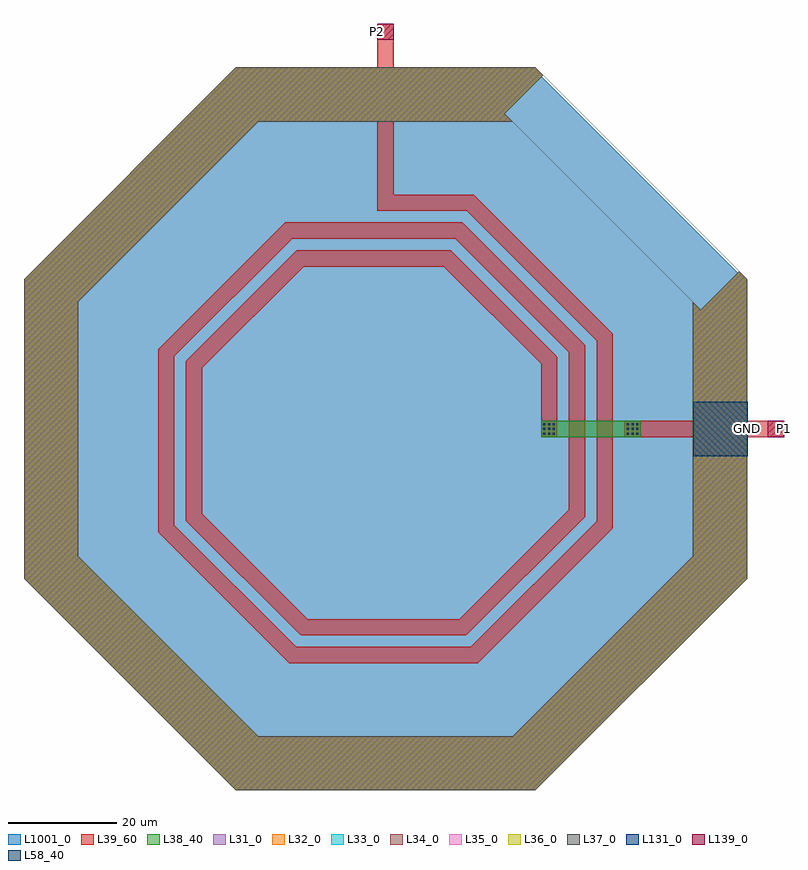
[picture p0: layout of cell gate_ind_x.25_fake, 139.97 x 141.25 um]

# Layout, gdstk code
import gdstk
lib = gdstk.Library(unit=1e-6, precision=1e-09)
def R(c, l, rs):  # rectangles x0, y0, x1, y1
    for r in rs: c.add(gdstk.rectangle(r[:2], r[2:], *l))
def A(c, l, x, y, w, h, nx, ny, dx, dy):  # array of equal rectangles
    R(c, l, [(x+i*dx, y+j*dy, x+i*dx+w, y+j*dy+h) for i in range(nx) for j in range(ny)])
def P(c, l, *ps):  # polygons
    for p in ps: c.add(gdstk.Polygon(p, *l))
L31_0 = (31, 0)
L32_0 = (32, 0)
L33_0 = (33, 0)
L34_0 = (34, 0)
L35_0 = (35, 0)
L36_0 = (36, 0)
L37_0 = (37, 0)
L38_40 = (38, 40)
L39_60 = (39, 60)
L58_40 = (58, 40)
L131_0 = (131, 0)
L139_0 = (139, 0)
L1001_0 = (1001, 0)

gate_ind_x_25_fake = lib.new_cell('gate_ind_x.25_fake')
P(gate_ind_x_25_fake, L31_0, [(58.052,21.975),(65.123,29.046),(27.581,66.588),(-27.581,66.588),(-66.588,27.581),(-66.588,-27.581),(-27.581,-66.588),(27.581,-66.588),(66.588,-27.581),(66.588,27.581),(29.046,65.123),(21.975,58.052),(56.588,23.439),(56.588,-23.439),(23.439,-56.588),(-23.439,-56.588),(-56.588,-23.439),(-56.588,23.439),(-23.439,56.588),(23.439,56.588)])
P(gate_ind_x_25_fake, L32_0, [(58.052,21.975),(65.123,29.046),(27.581,66.588),(-27.581,66.588),(-66.588,27.581),(-66.588,-27.581),(-27.581,-66.588),(27.581,-66.588),(66.588,-27.581),(66.588,27.581),(29.046,65.123),(21.975,58.052),(56.588,23.439),(56.588,-23.439),(23.439,-56.588),(-23.439,-56.588),(-56.588,-23.439),(-56.588,23.439),(-23.439,56.588),(23.439,56.588)])
P(gate_ind_x_25_fake, L33_0, [(58.052,21.975),(65.123,29.046),(27.581,66.588),(-27.581,66.588),(-66.588,27.581),(-66.588,-27.581),(-27.581,-66.588),(27.581,-66.588),(66.588,-27.581),(66.588,27.581),(29.046,65.123),(21.975,58.052),(56.588,23.439),(56.588,-23.439),(23.439,-56.588),(-23.439,-56.588),(-56.588,-23.439),(-56.588,23.439),(-23.439,56.588),(23.439,56.588)])
P(gate_ind_x_25_fake, L34_0, [(58.052,21.975),(65.123,29.046),(27.581,66.588),(-27.581,66.588),(-66.588,27.581),(-66.588,-27.581),(-27.581,-66.588),(27.581,-66.588),(66.588,-27.581),(66.588,27.581),(29.046,65.123),(21.975,58.052),(56.588,23.439),(56.588,-23.439),(23.439,-56.588),(-23.439,-56.588),(-56.588,-23.439),(-56.588,23.439),(-23.439,56.588),(23.439,56.588)])
P(gate_ind_x_25_fake, L35_0, [(58.052,21.975),(65.123,29.046),(27.581,66.588),(-27.581,66.588),(-66.588,27.581),(-66.588,-27.581),(-27.581,-66.588),(27.581,-66.588),(66.588,-27.581),(66.588,27.581),(29.046,65.123),(21.975,58.052),(56.588,23.439),(56.588,-23.439),(23.439,-56.588),(-23.439,-56.588),(-56.588,-23.439),(-56.588,23.439),(-23.439,56.588),(23.439,56.588)])
P(gate_ind_x_25_fake, L36_0, [(58.052,21.975),(65.123,29.046),(27.581,66.588),(-27.581,66.588),(-66.588,27.581),(-66.588,-27.581),(-27.581,-66.588),(27.581,-66.588),(66.588,-27.581),(66.588,27.581),(29.046,65.123),(21.975,58.052),(56.588,23.439),(56.588,-23.439),(23.439,-56.588),(-23.439,-56.588),(-56.588,-23.439),(-56.588,23.439),(-23.439,56.588),(23.439,56.588)])
P(gate_ind_x_25_fake, L37_0, [(58.052,21.975),(65.123,29.046),(27.581,66.588),(-27.581,66.588),(-66.588,27.581),(-66.588,-27.581),(-27.581,-66.588),(27.581,-66.588),(66.588,-27.581),(66.588,27.581),(29.046,65.123),(21.975,58.052),(56.588,23.439),(56.588,-23.439),(23.439,-56.588),(-23.439,-56.588),(-56.588,-23.439),(-56.588,23.439),(-23.439,56.588),(23.439,56.588)])
R(gate_ind_x_25_fake, L38_40, [(28.63,-1.5,47.005,1.5)])
P(gate_ind_x_25_fake, L38_40, [(58.052,21.975),(65.123,29.046),(27.581,66.588),(-27.581,66.588),(-66.588,27.581),(-66.588,-27.581),(-27.581,-66.588),(27.581,-66.588),(66.588,-27.581),(66.588,27.581),(29.046,65.123),(21.975,58.052),(56.588,23.439),(56.588,-23.439),(23.439,-56.588),(-23.439,-56.588),(-56.588,-23.439),(-56.588,23.439),(-23.439,56.588),(23.439,56.588)])
R(gate_ind_x_25_fake, L39_60, [(44.005,-1.5,73.38,1.5), (-1.5,40.16,1.5,74.66)])
P(gate_ind_x_25_fake, L39_60, [(28.63,-1.5),(31.63,-1.5),(31.63,13.256),(11.976,32.91),(-16.351,32.91),(-36.755,12.506),(-36.755,-16.881),(-15.601,-38.035),(14.851,-38.035),(36.755,-16.131),(36.755,15.381),(14.101,38.035),(-18.471,38.035),(-41.88,14.631),(-41.88,-19.006),(-17.721,-43.16),(16.971,-43.16),(41.88,-18.251),(41.88,17.501),(16.221,43.16),(0,43.16),(0,40.16),(14.979,40.16),(38.88,16.259),(38.88,-17.009),(15.729,-40.16),(-16.479,-40.16),(-38.88,-17.764),(-38.88,13.389),(-17.229,35.035),(12.859,35.035),(33.755,14.139),(33.755,-14.889),(13.609,-35.035),(-14.359,-35.035),(-33.755,-15.639),(-33.755,11.264),(-15.109,29.91),(10.734,29.91),(28.63,12.014)],
  [(58.052,21.975),(65.123,29.046),(27.581,66.588),(-27.581,66.588),(-66.588,27.581),(-66.588,-27.581),(-27.581,-66.588),(27.581,-66.588),(66.588,-27.581),(66.588,27.581),(29.046,65.123),(21.975,58.052),(56.588,23.439),(56.588,-23.439),(23.439,-56.588),(-23.439,-56.588),(-56.588,-23.439),(-56.588,23.439),(-23.439,56.588),(23.439,56.588)])
A(gate_ind_x_25_fake, L58_40, 29.086, -1.045, 0.35, 0.35, 3, 3, 0.87, 0.87)
A(gate_ind_x_25_fake, L58_40, 44.461, -1.045, 0.35, 0.35, 3, 3, 0.87, 0.87)
R(gate_ind_x_25_fake, L131_0, [(56.66,-5,66.66,5)])
R(gate_ind_x_25_fake, L139_0, [(70.38,-1.5,73.38,1.5), (-1.5,71.66,1.5,74.66)])
P(gate_ind_x_25_fake, L1001_0, [(66.207,27.424),(27.424,66.207),(-27.424,66.207),(-66.207,27.424),(-66.207,-27.424),(-27.424,-66.207),(27.424,-66.207),(66.207,-27.424)],
  [(66.207,27.424),(27.424,66.207),(-27.424,66.207),(-66.207,27.424),(-66.207,-27.424),(-27.424,-66.207),(27.424,-66.207),(66.207,-27.424)],
  [(66.207,27.424),(27.424,66.207),(-27.424,66.207),(-66.207,27.424),(-66.207,-27.424),(-27.424,-66.207),(27.424,-66.207),(66.207,-27.424)],
  [(66.207,27.424),(27.424,66.207),(-27.424,66.207),(-66.207,27.424),(-66.207,-27.424),(-27.424,-66.207),(27.424,-66.207),(66.207,-27.424)],
  [(66.207,27.424),(27.424,66.207),(-27.424,66.207),(-66.207,27.424),(-66.207,-27.424),(-27.424,-66.207),(27.424,-66.207),(66.207,-27.424)],
  [(66.207,27.424),(27.424,66.207),(-27.424,66.207),(-66.207,27.424),(-66.207,-27.424),(-27.424,-66.207),(27.424,-66.207),(66.207,-27.424)],
  [(66.207,27.424),(27.424,66.207),(-27.424,66.207),(-66.207,27.424),(-66.207,-27.424),(-27.424,-66.207),(27.424,-66.207),(66.207,-27.424)],
  [(66.207,27.424),(27.424,66.207),(-27.424,66.207),(-66.207,27.424),(-66.207,-27.424),(-27.424,-66.207),(27.424,-66.207),(66.207,-27.424)],
  [(66.207,27.424),(27.424,66.207),(-27.424,66.207),(-66.207,27.424),(-66.207,-27.424),(-27.424,-66.207),(27.424,-66.207),(66.207,-27.424)])
gate_ind_x_25_fake.add(gdstk.Label('P1', (73.381,0), layer=139, texttype=0))
gate_ind_x_25_fake.add(gdstk.Label('P2', (-1.5,73.162), layer=139, texttype=0))
gate_ind_x_25_fake.add(gdstk.Label('GND', (66.662,0), layer=131, texttype=0))

lib.write_gds('gate_ind_x.25_fake.gds')
